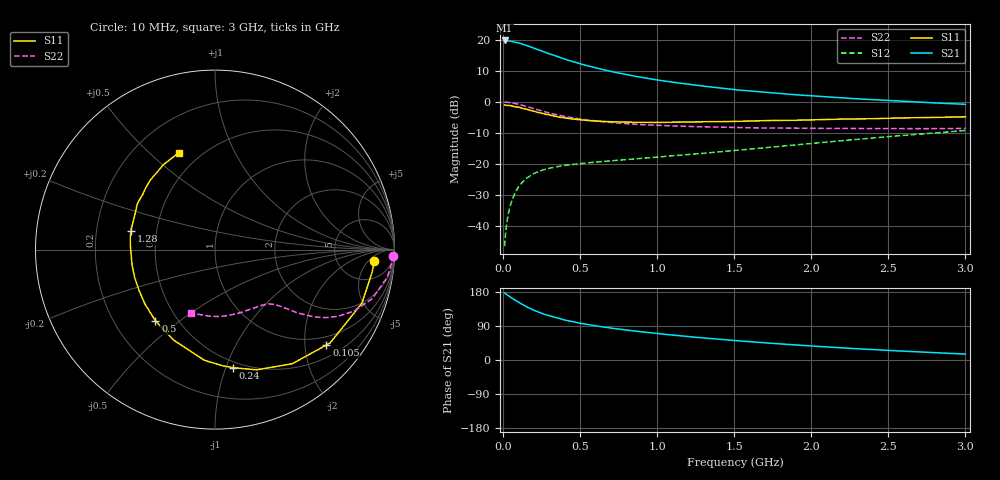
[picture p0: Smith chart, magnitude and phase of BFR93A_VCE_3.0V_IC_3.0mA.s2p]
! Infineon Technologies  Discrete & RF Semiconductors
! BFR93A
! VCE =  3.0 V,  IC =  3.0 mA
! Common Emitter S-Parameters:  Nov 2015
# GHz  S  MA  R  50
!  f  S11  S21  S12  S22
! GHz  MAG  ANG  MAG  ANG  MAG  ANG  MAG  ANG
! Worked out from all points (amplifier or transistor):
!   180 points, 10 MHz to 3 GHz, reference 50 ohm
!   highest |S21| = 19.8 dB at 10 MHz (marker M1)
!   |S21| within 3 dB of that: start of sweep to 229.3 MHz
!   unconditionally stable (mu >= 1): 878.3 MHz to 2.79 GHz
!   at 160 MHz: K = 0.25, MSG = 21.1 dB, |S12| = -24.3 dB
!   at 1.22 GHz: K = 1.13, MAG = 9.0 dB, |S12| = -16.8 dB
!   at 3 GHz: K = 0.97, MSG = 4.2 dB, |S12| = -9.2 dB
!   S11 on the Smith chart (normalised r, x): 10 MHz: 12, -8; 105 MHz: 0.78, -2.49; 240 MHz: 0.45, -1.06; 500 MHz: 0.38, -0.41; 1.28 GHz: 0.36, +0.10; 3 GHz: 0.39, +0.62
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0.01  0.8893 -4.1  9.717 176.9  0.0048 87.3  0.993 -1.9
0.025  0.8799 -10.1  9.652 172.5  0.0117 83.0  0.9861 -4.7
0.05  0.8712 -20.1  9.486 165.2  0.023 79.3  0.9718 -9.2
0.095  0.8262 -37.0  8.94 153.7  0.0411 70.0  0.9217 -16.5
0.105  0.8171 -40.6  8.809 151.3  0.0447 68.4  0.9095 -18.0
0.15  0.7679 -55.9  8.115 140.7  0.0589 61.1  0.8463 -23.9
0.2  0.7088 -70.9  7.33 131.2  0.0707 55.4  0.7777 -28.6
0.24  0.6652 -81.4  6.724 124.7  0.0776 51.6  0.7272 -31.4
0.26  0.6484 -86.3  6.451 121.7  0.0807 50.0  0.7042 -32.5
0.3  0.6192 -95.5  5.935 116.4  0.0859 47.5  0.6621 -34.4
0.4  0.5547 -114.5  4.859 105.4  0.0954 43.7  0.5829 -37.4
0.5  0.5172 -130.0  4.089 96.9  0.102 41.9  0.5295 -39.1
0.52  0.5106 -132.4  3.971 95.7  0.1031 41.8  0.522 -39.3
0.6  0.4938 -142.5  3.521 90.1  0.1077 41.5  0.4922 -40.4
0.7  0.4797 -152.4  3.084 84.0  0.1128 42.0  0.4661 -41.7
0.9  0.47 -169.5  2.47 74.3  0.1233 44.0  0.4307 -44.6
1.02  0.4682 -177.4  2.215 69.0  0.1304 45.3  0.4185 -46.6
1.28  0.4798 167.5  1.819 58.9  0.148 48.4  0.3988 -52.4
1.52  0.4867 156.7  1.559 50.7  0.167 50.9  0.3872 -58.6
2.02  0.5168 138.4  1.242 36.5  0.217 53.4  0.3756 -73.7
2.52  0.5464 123.6  1.044 24.9  0.2792 52.0  0.3724 -91.2
3  0.5761 110.3  0.915 15.6  0.3467 48.0  0.3749 -110.8
